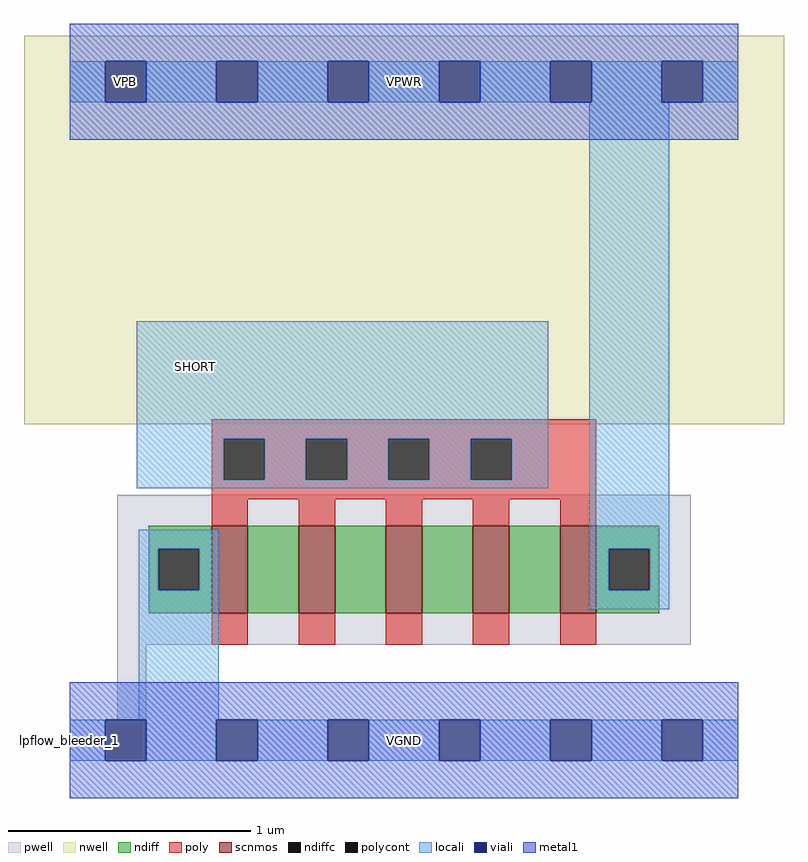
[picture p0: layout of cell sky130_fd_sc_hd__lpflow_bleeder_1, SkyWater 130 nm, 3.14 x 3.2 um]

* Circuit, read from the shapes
.subckt sky130_fd_sc_hd__lpflow_bleeder_1 SHORT VGND VNB VPB VPWR
XM1 n1 SHORT VGND VNB sky130_fd_pr__nfet_01v8 w=0.36 l=0.15
XM2 n2 SHORT n1 VNB sky130_fd_pr__nfet_01v8 w=0.36 l=0.15
XM3 n3 SHORT n2 VNB sky130_fd_pr__nfet_01v8 w=0.36 l=0.15
XM4 n4 SHORT n3 VNB sky130_fd_pr__nfet_01v8 w=0.36 l=0.15
XM5 VPWR SHORT n4 VNB sky130_fd_pr__nfet_01v8 w=0.36 l=0.15
.ends

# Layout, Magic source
magic
tech sky130A
magscale 1 2
<< nwell >>
rect -38 261 590 582
<< pwell >>
rect 39 79 513 203
rect 39 17 63 79
rect 29 -17 63 17
<< scnmos >>
rect 117 105 147 177
rect 189 105 219 177
rect 261 105 291 177
rect 333 105 363 177
rect 405 105 435 177
<< ndiff >>
rect 65 158 117 177
rect 65 124 73 158
rect 107 124 117 158
rect 65 105 117 124
rect 147 105 189 177
rect 219 105 261 177
rect 291 105 333 177
rect 363 105 405 177
rect 435 158 487 177
rect 435 124 445 158
rect 479 124 487 158
rect 435 105 487 124
<< ndiffc >>
rect 73 124 107 158
rect 445 124 479 158
<< poly >>
rect 117 249 435 265
rect 117 215 127 249
rect 161 215 195 249
rect 229 215 263 249
rect 297 215 331 249
rect 365 215 435 249
rect 117 199 435 215
rect 117 177 147 199
rect 189 177 219 199
rect 261 177 291 199
rect 333 177 363 199
rect 405 177 435 199
rect 117 79 147 105
rect 189 79 219 105
rect 261 79 291 105
rect 333 79 363 105
rect 405 79 435 105
<< polycont >>
rect 127 215 161 249
rect 195 215 229 249
rect 263 215 297 249
rect 331 215 365 249
<< locali >>
rect 0 527 29 561
rect 63 527 121 561
rect 155 527 213 561
rect 247 527 305 561
rect 339 527 397 561
rect 431 527 489 561
rect 523 527 552 561
rect 55 249 395 346
rect 55 215 127 249
rect 161 215 195 249
rect 229 215 263 249
rect 297 215 331 249
rect 365 215 395 249
rect 55 208 395 215
rect 57 158 123 174
rect 57 124 73 158
rect 107 124 123 158
rect 57 17 123 124
rect 429 158 495 527
rect 429 124 445 158
rect 479 124 495 158
rect 429 108 495 124
rect 0 -17 29 17
rect 63 -17 121 17
rect 155 -17 213 17
rect 247 -17 305 17
rect 339 -17 397 17
rect 431 -17 489 17
rect 523 -17 552 17
<< viali >>
rect 29 527 63 561
rect 121 527 155 561
rect 213 527 247 561
rect 305 527 339 561
rect 397 527 431 561
rect 489 527 523 561
rect 29 -17 63 17
rect 121 -17 155 17
rect 213 -17 247 17
rect 305 -17 339 17
rect 397 -17 431 17
rect 489 -17 523 17
<< metal1 >>
rect 0 561 552 592
rect 0 527 29 561
rect 63 527 121 561
rect 155 527 213 561
rect 247 527 305 561
rect 339 527 397 561
rect 431 527 489 561
rect 523 527 552 561
rect 0 496 552 527
rect 0 17 552 48
rect 0 -17 29 17
rect 63 -17 121 17
rect 155 -17 213 17
rect 247 -17 305 17
rect 339 -17 397 17
rect 431 -17 489 17
rect 523 -17 552 17
rect 0 -48 552 -17
<< labels >>
rlabel comment s 0 0 0 0 4 lpflow_bleeder_1
flabel nwell s 29 527 63 561 0 FreeSans 200 180 0 0 VPB
port 4 nsew power bidirectional
flabel pwell s 29 -17 63 17 0 FreeSans 200 180 0 0 VNB
port 3 nsew ground bidirectional
flabel locali s 87 292 121 326 0 FreeSans 200 0 0 0 SHORT
port 1 nsew signal input
flabel metal1 s 29 527 63 561 0 FreeSans 200 0 0 0 VPWR
port 5 nsew power bidirectional abutment
flabel metal1 s 29 -17 63 17 0 FreeSans 200 0 0 0 VGND
port 2 nsew ground bidirectional abutment
rlabel metal1 s 0 -48 552 48 1 VGND
port 2 nsew ground bidirectional abutment
rlabel metal1 s 0 496 552 592 1 VPWR
port 5 nsew power bidirectional abutment
<< properties >>
string FIXED_BBOX 0 0 552 544
string GDS_END 2252966
string GDS_FILE $PDKPATH/libs.ref/sky130_fd_sc_hd/gds/sky130_fd_sc_hd.gds
string GDS_START 2249974
string LEFclass CORE
string LEFsite unithd
string LEFsymmetry X Y R90
<< end >>
